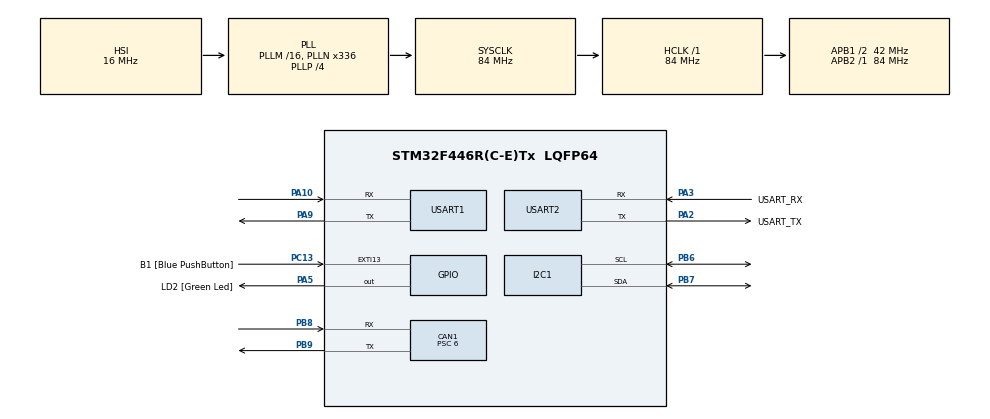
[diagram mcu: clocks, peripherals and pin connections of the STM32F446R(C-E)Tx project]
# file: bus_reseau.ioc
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CAN1.BS1=CAN_BS1_11TQ
CAN1.BS2=CAN_BS2_2TQ
CAN1.CalculateBaudRate=500000
CAN1.CalculateTimeBit=2000
CAN1.CalculateTimeQuantum=142.85714285714286
CAN1.Prescaler=6
Mcu.Family=STM32F4
Mcu.Name=STM32F446R(C-E)Tx
Mcu.Package=LQFP64
NVIC.PriorityGroup=NVIC_PRIORITYGROUP_0
NVIC.USART1_IRQn=true\:0\:0\:false\:false\:true\:true\:true\:true
PA10.Mode=Asynchronous
PA10.Signal=USART1_RX
PA13.GPIO_Label=TMS
PA13.Mode=Serial_Wire
PA13.Signal=SYS_JTMS-SWDIO
PA14.GPIO_Label=TCK
PA14.Mode=Serial_Wire
PA14.Signal=SYS_JTCK-SWCLK
PA2.GPIO_Label=USART_TX
PA2.Mode=Asynchronous
PA2.Signal=USART2_TX
PA3.GPIO_Label=USART_RX
PA3.Mode=Asynchronous
PA3.Signal=USART2_RX
PA5.GPIO_Label=LD2 [Green Led]
PA5.Signal=GPIO_Output
PA9.Mode=Asynchronous
PA9.Signal=USART1_TX
PB3.GPIO_Label=SWO
PB3.Signal=SYS_JTDO-SWO
PB6.Mode=I2C
PB6.Signal=I2C1_SCL
PB7.Mode=I2C
PB7.Signal=I2C1_SDA
PB8.Mode=CAN_Activate
PB8.Signal=CAN1_RX
PB9.Mode=CAN_Activate
PB9.Signal=CAN1_TX
PC13.GPIO_Label=B1 [Blue PushButton]
PC13.GPIO_ModeDefaultEXTI=GPIO_MODE_IT_FALLING
PC13.Signal=GPXTI13
PC14-OSC32_IN.Mode=LSE-External-Oscillator
PC14-OSC32_IN.Signal=RCC_OSC32_IN
PC15-OSC32_OUT.Mode=LSE-External-Oscillator
PC15-OSC32_OUT.Signal=RCC_OSC32_OUT
PH0-OSC_IN.Mode=HSE-External-Oscillator
PH0-OSC_IN.Signal=RCC_OSC_IN
PH1-OSC_OUT.Mode=HSE-External-Oscillator
PH1-OSC_OUT.Signal=RCC_OSC_OUT
ProjectManager.HeapSize=0x200
ProjectManager.StackSize=0x400
ProjectManager.TargetToolchain=STM32CubeIDE
RCC.48MHZClocksFreq_Value=84000000
RCC.AHBFreq_Value=84000000
RCC.APB1CLKDivider=RCC_HCLK_DIV2
RCC.APB1Freq_Value=42000000
RCC.APB1TimFreq_Value=84000000
RCC.APB2Freq_Value=84000000
RCC.APB2TimFreq_Value=84000000
RCC.CortexFreq_Value=84000000
RCC.FLatency-AdvancedSettings=FLASH_LATENCY_2
RCC.HCLKFreq_Value=84000000
RCC.HSE_VALUE=8000000
RCC.HSI_VALUE=16000000
RCC.PLLN=336
RCC.PLLP=RCC_PLLP_DIV4
RCC.SYSCLKFreq_VALUE=84000000
RCC.SYSCLKSource=RCC_SYSCLKSOURCE_PLLCLK
RCC.USBFreq_Value=168000000
RCC.VCOOutputFreq_Value=336000000
USART1.VirtualMode=VM_ASYNC
USART2.VirtualMode=VM_ASYNC
board=NUCLEO-F446RE

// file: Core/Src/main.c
/* USER CODE BEGIN Header */
/**
 ******************************************************************************
 * @file           : main.c
 * @brief          : Main program body
 ******************************************************************************
 * @attention
 *
 * Copyright (c) 2025 STMicroelectronics.
 * All rights reserved.
 *
 * This software is licensed under terms that can be found in the LICENSE file
 * in the root directory of this software component.
 * If no LICENSE file comes with this software, it is provided AS-IS.
 *
 ******************************************************************************
 */
/* USER CODE END Header */
#include "main.h"
#include "can.h"
#include "i2c.h"
#include "usart.h"
#include "gpio.h"

/* USER CODE BEGIN Includes */
#include <stdio.h>
#include <string.h>
#include <math.h>

#include "bmp280.h"
#include "mpu9250.h"
#include "rpi.h"
#include "motor.h"

/* USER CODE END Includes */

/* USER CODE BEGIN PD */

#define TEMP_MOYENNE 26.0f

/* USER CODE END PD */

/* USER CODE BEGIN PV */

float K_value = 12.34;
uint8_t angle_value = 0;

bmp280_comp_param_t compensation_params;

h_rpi_t h_rpi = {
		.huart = &huart1,
		.K_value = &K_value,
		.angle_value = &angle_value,
		.compensation_params = &compensation_params
};

/* USER CODE END PV */

void SystemClock_Config(void);

/* USER CODE BEGIN 0 */

void HAL_UART_RxCpltCallback(UART_HandleTypeDef *huart)
{
	if (huart->Instance == USART1)
	{
//		HAL_GPIO_TogglePin(GPIOA, GPIO_PIN_5);
		rpi_traitement_requete(&h_rpi);

	}
}

/* USER CODE END 0 */

int main(void)
{

	/* MCU Configuration--------------------------------------------------------*/

	/* Reset of all peripherals, Initializes the Flash interface and the Systick. */
	HAL_Init();

	/* Configure the system clock */
	SystemClock_Config();

	/* Initialize all configured peripherals */
	MX_GPIO_Init();
	MX_USART2_UART_Init();
	MX_I2C1_Init();
	MX_USART1_UART_Init();
	MX_CAN1_Init();
	/* USER CODE BEGIN 2 */

	printf("\r\n====== TP BUS ET RESEAUX ======\r\n");

	uint8_t bmp_id = 0;
	bmp_get_id(&bmp_id);
	printf("BMP DEVICE ID : 0x%x \r\n", bmp_id);

	bmp_configure();

	bmp280_comp_param_t compensation_params;
	bmp_get_trimming_params(&compensation_params);

	uint32_t raw_temp;
	get_bmp280_raw_temp(&raw_temp);

	printf("Raw temperature : %d \r\n", raw_temp);

	uint32_t raw_press;
	get_bmp280_raw_press(&raw_press);

	printf("Raw pressure : %d \r\n", raw_press);

	uint32_t comp_temp = bmp280_compensate_T_int32(raw_temp, &compensation_params);
	printf("Compensated temperature : %d (0.01 °C), %.2f °C \r\n", comp_temp, comp_temp / 100.0f);
	uint32_t comp_press = bmp280_compensate_P_int32(raw_press, &compensation_params);
	printf("Compensated pressure : %d Pa \r\n", comp_press);

	uint8_t mpu_id = 0;
	mpu_get_id(&mpu_id);
	printf("MPU DEVICE ID : 0x%x \r\n", mpu_id);

	mpu_configure();

	mpu9250_accel_data_t accel_data;
	mpu_get_accel_data(&accel_data);
	mpu_disp_accel_data(&accel_data);

	rpi_init(&h_rpi);

	motor_init();

	uint8_t direction;
	float temp_deg;

	/* USER CODE END 2 */

	/* Infinite loop */
	/* USER CODE BEGIN WHILE */
	while (1)
	{
		get_bmp280_raw_temp(&raw_temp);
		comp_temp = bmp280_compensate_T_int32(raw_temp, &compensation_params);
		temp_deg = comp_temp / 100.0f;

		if (temp_deg > TEMP_MOYENNE)
			direction = 0x00;
		else
			direction = 0x01;

		angle_value = K_value*fabs((float)temp_deg - TEMP_MOYENNE);
		printf("temperature : %.2f, angle : %d\r\n", temp_deg, angle_value);
		motor_turn(direction, angle_value);

		HAL_Delay(1000);

		/* USER CODE END WHILE */

	}
}

void SystemClock_Config(void)
{
	RCC_OscInitTypeDef RCC_OscInitStruct = {0};
	RCC_ClkInitTypeDef RCC_ClkInitStruct = {0};

	/** Configure the main internal regulator output voltage
	 */
	__HAL_RCC_PWR_CLK_ENABLE();
	__HAL_PWR_VOLTAGESCALING_CONFIG(PWR_REGULATOR_VOLTAGE_SCALE3);

	/** Initializes the RCC Oscillators according to the specified parameters
	 * in the RCC_OscInitTypeDef structure.
	 */
	RCC_OscInitStruct.OscillatorType = RCC_OSCILLATORTYPE_HSI;
	RCC_OscInitStruct.HSIState = RCC_HSI_ON;
	RCC_OscInitStruct.HSICalibrationValue = RCC_HSICALIBRATION_DEFAULT;
	RCC_OscInitStruct.PLL.PLLState = RCC_PLL_ON;
	RCC_OscInitStruct.PLL.PLLSource = RCC_PLLSOURCE_HSI;
	RCC_OscInitStruct.PLL.PLLM = 16;
	RCC_OscInitStruct.PLL.PLLN = 336;
	RCC_OscInitStruct.PLL.PLLP = RCC_PLLP_DIV4;
	RCC_OscInitStruct.PLL.PLLQ = 2;
	RCC_OscInitStruct.PLL.PLLR = 2;
	if (HAL_RCC_OscConfig(&RCC_OscInitStruct) != HAL_OK)
	{
		Error_Handler();
	}

	/** Initializes the CPU, AHB and APB buses clocks
	 */
	RCC_ClkInitStruct.ClockType = RCC_CLOCKTYPE_HCLK|RCC_CLOCKTYPE_SYSCLK
			|RCC_CLOCKTYPE_PCLK1|RCC_CLOCKTYPE_PCLK2;
	RCC_ClkInitStruct.SYSCLKSource = RCC_SYSCLKSOURCE_PLLCLK;
	RCC_ClkInitStruct.AHBCLKDivider = RCC_SYSCLK_DIV1;
	RCC_ClkInitStruct.APB1CLKDivider = RCC_HCLK_DIV2;
	RCC_ClkInitStruct.APB2CLKDivider = RCC_HCLK_DIV1;

	if (HAL_RCC_ClockConfig(&RCC_ClkInitStruct, FLASH_LATENCY_2) != HAL_OK)
	{
		Error_Handler();
	}
}

void Error_Handler(void)
{
	__disable_irq();
	while (1)
	{
	}
}
